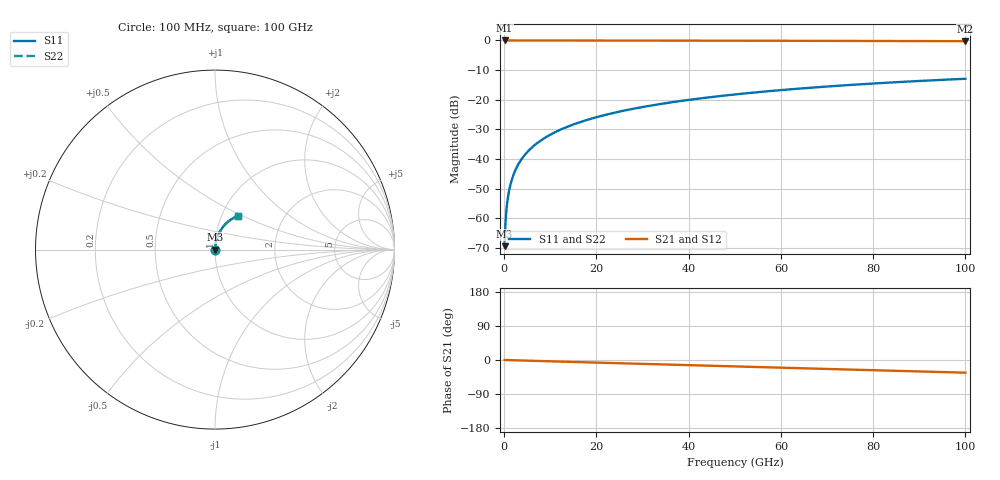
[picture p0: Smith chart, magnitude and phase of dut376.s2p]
! Touchstone file exported from HFSS 2026.1.0
!  File:  C:/ffzhzh/LocalFiles/Ansys_Project_Files/temp_train_TSV_376_1783510444_55944.aedt
!  Generated:  07:35:18 PM Jul  8, 2026
!  Design:  TSV
!  Project:  temp_train_TSV_376_1783510444_55944
! Variables:
!  h_bsmrdl = 2um
!  h_ox = 20um
!  h_rdl = 5um
!  h_sub = 55.94um
!  h_tmrdl = 5um
!  h_tsv = 55.94um
!  h_via = 3um
!  l_bsmrdl = 300um
!  l_sub = 413.24um
!  l_tmrdl = 200um
!  m_sub = 200um
!  pitch = 48.52um
!  r_tsv = 6.62um
!  s_tmrdl = 10um
!  w_bsmrdl = 18um
!  w_sub = 500um
!  w_tmrdl = 12um
!  x_tsv_center1 = 206um
!  x_tsv_center2 = 524um
!  x_tsv_center3 = 736um
!  x_tsv_center4 = 1054um
!  x_tsv_center5 = 1266um
!  x_tsv_center6 = 1584um
# GHz S MA R 50.000000
! Terminal data exported
! Port[1] = TSV1_1_T1
! Port[2] = TSV1_1_T2
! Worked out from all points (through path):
!   1000 points, 100 MHz to 100 GHz, reference 50 ohm
!   highest |S21| = 0.00 dB at 100 MHz (marker M1); lowest = -0.3 dB at 100 GHz (marker M2)
!   group delay of S21, straight-line fit = 929 fs
!   lowest |S11| = -69.4 dB at 100 MHz (marker M3), VSWR 1.00, Z = 50 + j0.0288 ohm
!   |S11| at or under -10 dB: start of sweep to end of sweep
!   |S22| runs from -69.4 to -12.9 dB; largest |S21 - S12| = 4.3e-15
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0.1  0.0003404 57.8  0.9998 -0.0  0.9998 -0.0  0.0003404 57.8
! Gamma 0 0 0 0
! Port Impedance 50 0 50 0
0.4  0.001133 79.0  0.9998 -0.1  0.9998 -0.1  0.001133 79.0
0.7  0.001937 82.7  0.9998 -0.2  0.9998 -0.2  0.001937 82.7
0.8  0.002206 83.3  0.9997 -0.3  0.9997 -0.3  0.002206 83.3
1  0.002742 84.1  0.9997 -0.4  0.9997 -0.4  0.002742 84.1
1.3  0.003543 84.8  0.9997 -0.5  0.9997 -0.5  0.003543 84.8
1.7  0.004603 85.2  0.9997 -0.6  0.9997 -0.6  0.004603 85.2
2.3  0.006174 85.4  0.9996 -0.8  0.9996 -0.8  0.006174 85.4
3  0.007984 85.5  0.9995 -1.0  0.9995 -1.0  0.007984 85.5
3.8  0.01004 85.6  0.9994 -1.3  0.9994 -1.3  0.01004 85.6
4.8  0.01259 85.5  0.9993 -1.7  0.9993 -1.7  0.01259 85.5
6  0.01564 85.4  0.9992 -2.1  0.9992 -2.1  0.01564 85.4
8.8  0.02274 84.9  0.9989 -3.0  0.9989 -3.0  0.02274 84.9
12.4  0.03181 83.9  0.9985 -4.3  0.9985 -4.3  0.03181 83.9
16.8  0.04283 82.7  0.9979 -5.8  0.9979 -5.8  0.04283 82.7
24.2  0.0612 80.4  0.9967 -8.3  0.9967 -8.3  0.0612 80.4
33.4  0.08367 77.5  0.9949 -11.4  0.9949 -11.4  0.08367 77.5
41.2  0.1023 75.0  0.9929 -14.0  0.9929 -14.0  0.1023 75.0
50.1  0.1231 72.1  0.9904 -17.0  0.9904 -17.0  0.1231 72.1
66.7  0.1602 66.7  0.9848 -22.6  0.9848 -22.6  0.1602 66.7
83.4  0.1947 61.2  0.9784 -28.1  0.9784 -28.1  0.1947 61.2
100  0.2259 55.9  0.9714 -33.5  0.9714 -33.5  0.2259 55.9
